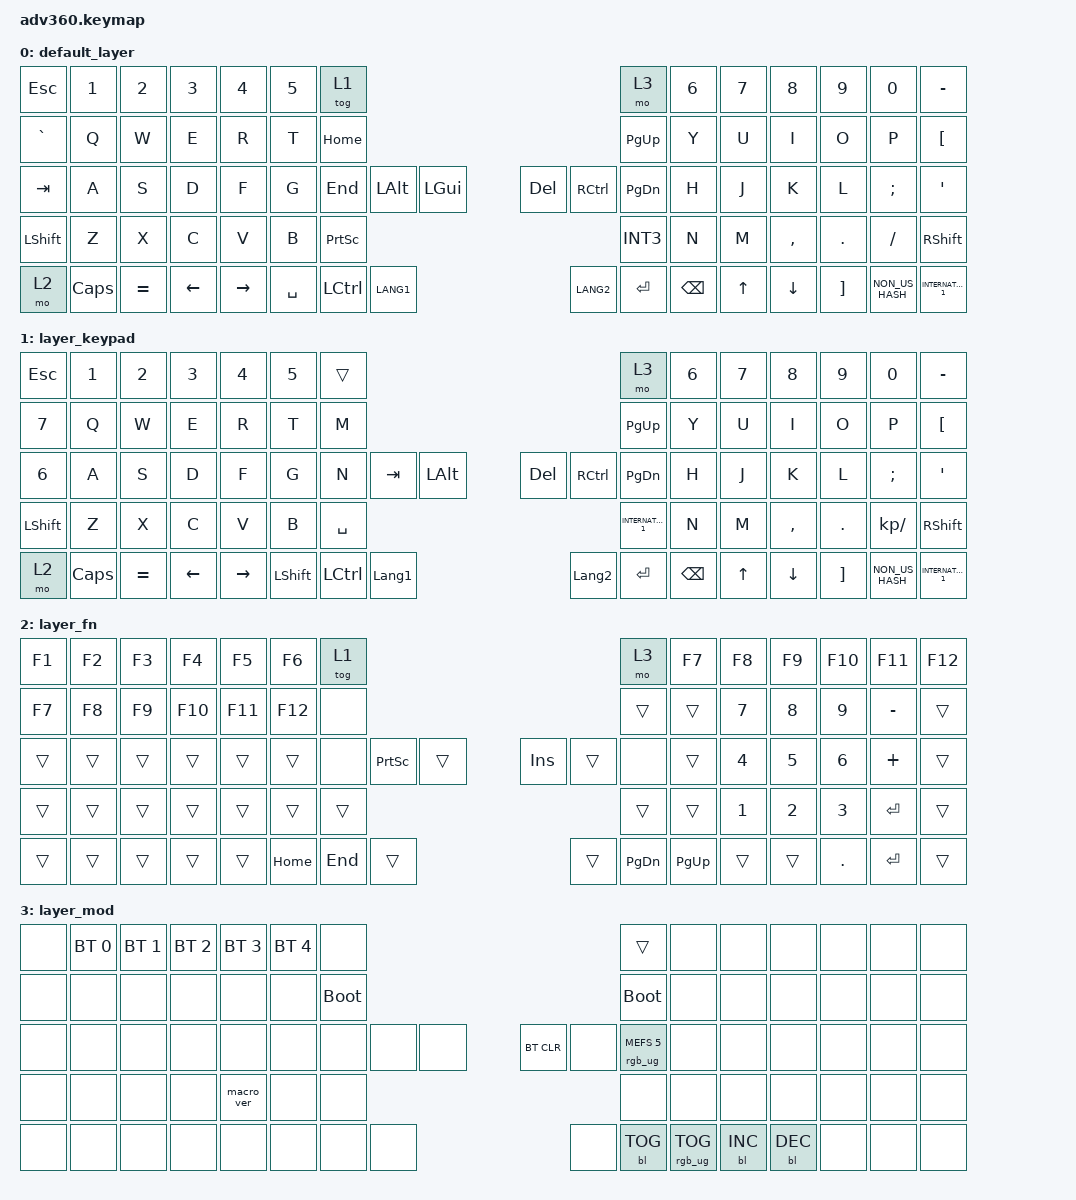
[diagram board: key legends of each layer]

/*
 * Copyright (c) 2020 The ZMK Contributors
 *
 * SPDX-License-Identifier: MIT
 */


/* THIS FILE WAS GENERATED!
 *
 * This file was generated automatically. You may or may not want to
 * edit it directly.
 */

#include <behaviors.dtsi>
#include <dt-bindings/zmk/keys.h>
#include <dt-bindings/zmk/bt.h>
#include <dt-bindings/zmk/rgb.h>
#include <dt-bindings/zmk/backlight.h>

/ {
  behaviors {
    #include "macros.dtsi"
    #include "version.dtsi"

    hm: homerow_mods {
        compatible = "zmk,behavior-hold-tap";
        label = "HOMEROW_MODS";
        #binding-cells = <2>;
        tapping-term-ms = <200>;
        quick_tap_ms = <175>;
        flavor = "tap-preferred";
        bindings = <&kp>, <&kp>;
    };
  };

    keymap {
        compatible = "zmk,keymap";


        default_layer {
            bindings = <
 &kp ESCAPE        &kp N1     &kp N2    &kp N3     &kp N4  &kp N5               &tog 1                                                                                &mo 3  &kp N6  &kp N7     &kp N8             &kp N9           &kp N0            &kp MINUS
  &kp GRAVE         &kp Q      &kp W     &kp E      &kp R   &kp T             &kp HOME                                                                            &kp PG_UP   &kp Y   &kp U      &kp I              &kp O            &kp P     &kp LEFT_BRACKET
    &kp TAB         &kp A      &kp S     &kp D      &kp F   &kp G              &kp END  &kp LEFT_ALT     &kp LEFT_GUI                  &kp DELETE  &kp RCTRL      &kp PG_DN   &kp H   &kp J      &kp K              &kp L         &kp SEMI              &kp SQT
  &kp LSHFT         &kp Z      &kp X     &kp C      &kp V   &kp B                                     &kp PRINTSCREEN                    &kp INT3                             &kp N   &kp M  &kp COMMA            &kp DOT         &kp FSLH            &kp RSHFT
      &mo 2  &kp CAPSLOCK  &kp EQUAL  &kp LEFT  &kp RIGHT                    &kp SPACE     &kp LCTRL        &kp LANG1                   &kp LANG2  &kp ENTER  &kp BACKSPACE          &kp UP   &kp DOWN  &kp RIGHT_BRACKET  &kp NON_US_HASH  &kp INTERNATIONAL_1
            >;
        };

        layer_keypad {
            bindings = <
      &kp ESC    &kp N1     &kp N2    &kp N3     &kp N4  &kp N5                    &trans                                                                                     &mo 3  &kp N6  &kp NUMBER_7  &kp NUMBER_8       &kp NUMBER_9     &kp NUMBER_0            &kp MINUS
 &kp NUMBER_7     &kp Q      &kp W     &kp E      &kp R   &kp T                     &kp M                                                                               &kp PAGE_UP   &kp Y         &kp U         &kp I              &kp O            &kp P     &kp LEFT_BRACKET
 &kp NUMBER_6     &kp A      &kp S     &kp D      &kp F   &kp G                     &kp N    &kp TAB        &kp LALT                           &kp DELETE  &kp RCTRL      &kp PG_DN   &kp H         &kp J         &kp K              &kp L    &kp SEMICOLON     &kp SINGLE_QUOTE
    &kp LSHFT     &kp Z      &kp X     &kp C      &kp V   &kp B                                            &kp SPACE                  &kp INTERNATIONAL_1                             &kp N         &kp M     &kp COMMA         &kp PERIOD    &kp KP_DIVIDE            &kp RSHFT
        &mo 2  &kp CAPS  &kp EQUAL  &kp LEFT  &kp RIGHT                    &kp LEFT_SHIFT  &kp LCTRL  &kp LANGUAGE_1                       &kp LANGUAGE_2  &kp ENTER  &kp BACKSPACE                &kp UP      &kp DOWN  &kp RIGHT_BRACKET  &kp NON_US_HASH  &kp INTERNATIONAL_1
            >;
        };

        layer_fn {
            bindings = <
 &kp F1  &kp F2  &kp F3   &kp F4   &kp F5   &kp F6              &tog 1                                                                       &mo 3  &kp F7        &kp F8        &kp F9       &kp F10    &kp F11  &kp F12
 &kp F7  &kp F8  &kp F9  &kp F10  &kp F11  &kp F12               &none                                                                      &trans  &trans  &kp NUMBER_7  &kp NUMBER_8  &kp NUMBER_9  &kp MINUS   &trans
 &trans  &trans  &trans   &trans   &trans   &trans               &none  &kp PRINTSCREEN  &trans                  &kp INS         &trans      &none  &trans  &kp NUMBER_4  &kp NUMBER_5  &kp NUMBER_6   &kp PLUS   &trans
 &trans  &trans  &trans   &trans   &trans   &trans                                       &trans                   &trans                            &trans  &kp NUMBER_1  &kp NUMBER_2  &kp NUMBER_3  &kp ENTER   &trans
 &trans  &trans  &trans   &trans   &trans                     &kp HOME          &kp END  &trans                   &trans  &kp PAGE_DOWN  &kp PG_UP                &trans        &trans    &kp PERIOD  &kp ENTER   &trans
            >;
        };

        layer_mod {
            bindings = <
  &none  &bt BT_SEL 0  &bt BT_SEL 1  &bt BT_SEL 2  &bt BT_SEL 3  &bt BT_SEL 4                  &none                                                                          &trans   &none       &none       &none   &none   &none   &none
  &none         &none         &none         &none         &none         &none            &bootloader                                                                     &bootloader   &none       &none       &none   &none   &none   &none
  &none         &none         &none         &none         &none         &none                  &none   &none   &none                  &bt BT_CLR       &none  &rgb_ug RGB_MEFS_CMD 5   &none       &none       &none   &none   &none   &none
  &none         &none         &none         &none    &macro_ver         &none                                  &none                       &none                                       &none       &none       &none   &none   &none   &none
  &none         &none         &none         &none         &none                                &none   &none   &none                       &none  &bl BL_TOG         &rgb_ug RGB_TOG          &bl BL_INC  &bl BL_DEC   &none   &none   &none
            >;
        };

    };
};
